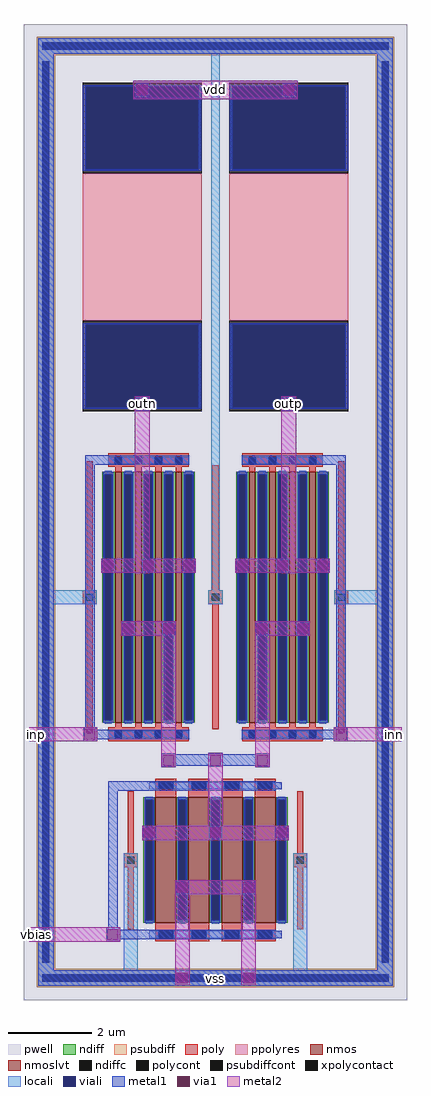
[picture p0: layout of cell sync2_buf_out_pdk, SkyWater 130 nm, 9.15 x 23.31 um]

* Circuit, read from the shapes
.subckt sync2_buf_out_pdk inp inn outn outp vbias vdd vss
XM1 n1 inp outn vss sky130_fd_pr__nfet_01v8_lvt w=6 l=0.15 m=4
XM2 vss vbias n1 vss sky130_fd_pr__nfet_01v8 w=3 l=0.5 m=4
XM3 n1 inn outp vss sky130_fd_pr__nfet_01v8_lvt w=6 l=0.15 m=4
XR4 vdd outn vss sky130_fd_pr__res_high_po w=2.85 l=3.53
XR5 vdd outp vss sky130_fd_pr__res_high_po w=2.85 l=3.53
.ends

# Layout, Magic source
magic
tech sky130A
magscale 1 2
<< pwell >>
rect -915 -668 915 3994
<< psubdiff >>
rect -855 -608 855 -518
rect -855 3844 855 3934
rect -855 -608 -765 3934
rect 765 -608 855 3934
<< psubdiffcont >>
rect -827 -580 827 -546
rect -827 3872 827 3906
rect -827 -490 -793 3816
rect 793 -490 827 3816
<< locali >>
rect -847 -600 847 -526
rect -847 3852 847 3926
rect -847 -600 -773 3926
rect 773 -600 847 3926
rect -316 338 -271 372
rect -203 338 -113 372
rect -45 338 45 372
rect 113 338 203 372
rect 271 338 316 372
rect -333 288 -299 304
rect -333 -304 -299 -288
rect -175 288 -141 304
rect -175 -304 -141 -288
rect -17 288 17 304
rect -17 -304 17 -288
rect 141 288 175 304
rect 141 -304 175 -288
rect 299 288 333 304
rect 299 -304 333 -288
rect -316 -372 -271 -338
rect -203 -372 -113 -338
rect -45 -372 45 -338
rect 113 -372 203 -338
rect 271 -372 316 -338
rect -512 1894 -481 1928
rect -447 1894 -385 1928
rect -351 1894 -289 1928
rect -255 1894 -193 1928
rect -159 1894 -128 1928
rect -529 1844 -495 1860
rect -529 652 -495 668
rect -433 1844 -399 1860
rect -433 652 -399 668
rect -337 1844 -303 1860
rect -337 652 -303 668
rect -241 1844 -207 1860
rect -241 652 -207 668
rect -145 1844 -111 1860
rect -145 652 -111 668
rect -512 584 -481 618
rect -447 584 -385 618
rect -351 584 -289 618
rect -255 584 -193 618
rect -159 584 -128 618
rect 128 1894 159 1928
rect 193 1894 255 1928
rect 289 1894 351 1928
rect 385 1894 447 1928
rect 481 1894 512 1928
rect 111 1844 145 1860
rect 111 652 145 668
rect 207 1844 241 1860
rect 207 652 241 668
rect 303 1844 337 1860
rect 303 652 337 668
rect 399 1844 433 1860
rect 399 652 433 668
rect 495 1844 529 1860
rect 495 652 529 668
rect 128 584 159 618
rect 193 584 255 618
rect 289 584 351 618
rect 385 584 447 618
rect 481 584 512 618
rect -773 1222 -567 1290
rect 567 1222 773 1290
rect -20 1222 20 3852
rect -34 1222 34 1290
rect -439 -526 -371 34
rect 371 -526 439 34
<< viali >>
rect -827 -580 827 -546
rect -827 3872 827 3906
rect -827 -490 -793 3816
rect 793 -490 827 3816
rect -271 338 -203 372
rect -113 338 -45 372
rect 45 338 113 372
rect 203 338 271 372
rect -333 -288 -299 288
rect -175 -288 -141 288
rect -17 -288 17 288
rect 141 -288 175 288
rect 299 -288 333 288
rect -271 -372 -203 -338
rect -113 -372 -45 -338
rect 45 -372 113 -338
rect 203 -372 271 -338
rect -481 1894 -447 1928
rect -385 1894 -351 1928
rect -289 1894 -255 1928
rect -193 1894 -159 1928
rect -529 668 -495 1844
rect -433 668 -399 1844
rect -337 668 -303 1844
rect -241 668 -207 1844
rect -145 668 -111 1844
rect -481 584 -447 618
rect -385 584 -351 618
rect -289 584 -255 618
rect -193 584 -159 618
rect -619 3299 -81 3696
rect -619 2162 -81 2559
rect 159 1894 193 1928
rect 255 1894 289 1928
rect 351 1894 385 1928
rect 447 1894 481 1928
rect 111 668 145 1844
rect 207 668 241 1844
rect 303 668 337 1844
rect 399 668 433 1844
rect 495 668 529 1844
rect 159 584 193 618
rect 255 584 289 618
rect 351 584 385 618
rect 447 584 481 618
rect 81 3299 619 3696
rect 81 2162 619 2559
<< metal1 >>
rect -847 -600 847 -526
rect -847 3852 847 3926
rect -847 -600 -773 3926
rect 773 -600 847 3926
rect -283 372 -191 378
rect -125 372 -33 378
rect 33 372 125 378
rect 191 372 283 378
rect -316 338 -271 372
rect -203 338 -113 372
rect -45 338 45 372
rect 113 338 203 372
rect 271 338 316 372
rect -283 332 -191 338
rect -125 332 -33 338
rect 33 332 125 338
rect 191 332 283 338
rect -339 288 -293 300
rect -339 -288 -333 288
rect -299 -288 -293 288
rect -339 -300 -293 -288
rect -181 288 -135 300
rect -181 -288 -175 288
rect -141 -288 -135 288
rect -181 -300 -135 -288
rect -23 288 23 300
rect -23 -288 -17 288
rect 17 -288 23 288
rect -23 -300 23 -288
rect 135 288 181 300
rect 135 -288 141 288
rect 175 -288 181 288
rect 135 -300 181 -288
rect 293 288 339 300
rect 293 -288 299 288
rect 333 -288 339 288
rect 293 -300 339 -288
rect -283 -338 -191 -332
rect -125 -338 -33 -332
rect 33 -338 125 -332
rect 191 -338 283 -332
rect -316 -372 -271 -338
rect -203 -372 -113 -338
rect -45 -372 45 -338
rect 113 -372 203 -338
rect 271 -372 316 -338
rect -283 -378 -191 -372
rect -125 -378 -33 -372
rect 33 -378 125 -372
rect 191 -378 283 -372
rect -493 1928 -435 1934
rect -397 1928 -339 1934
rect -301 1928 -243 1934
rect -205 1928 -147 1934
rect -512 1894 -481 1928
rect -447 1894 -385 1928
rect -351 1894 -289 1928
rect -255 1894 -193 1928
rect -159 1894 -128 1928
rect -493 1888 -435 1894
rect -397 1888 -339 1894
rect -301 1888 -243 1894
rect -205 1888 -147 1894
rect -535 1844 -489 1856
rect -535 668 -529 1844
rect -495 668 -489 1844
rect -535 656 -489 668
rect -439 1844 -393 1856
rect -439 668 -433 1844
rect -399 668 -393 1844
rect -439 656 -393 668
rect -343 1844 -297 1856
rect -343 668 -337 1844
rect -303 668 -297 1844
rect -343 656 -297 668
rect -247 1844 -201 1856
rect -247 668 -241 1844
rect -207 668 -201 1844
rect -247 656 -201 668
rect -151 1844 -105 1856
rect -151 668 -145 1844
rect -111 668 -105 1844
rect -151 656 -105 668
rect -493 618 -435 624
rect -397 618 -339 624
rect -301 618 -243 624
rect -205 618 -147 624
rect -512 584 -481 618
rect -447 584 -385 618
rect -351 584 -289 618
rect -255 584 -193 618
rect -159 584 -128 618
rect -493 578 -435 584
rect -397 578 -339 584
rect -301 578 -243 584
rect -205 578 -147 584
rect -631 3696 -69 3702
rect -631 3299 -619 3696
rect -81 3299 -69 3696
rect -631 3293 -69 3299
rect -631 2559 -69 2565
rect -631 2162 -619 2559
rect -81 2162 -69 2559
rect -631 2156 -69 2162
rect 147 1928 205 1934
rect 243 1928 301 1934
rect 339 1928 397 1934
rect 435 1928 493 1934
rect 128 1894 159 1928
rect 193 1894 255 1928
rect 289 1894 351 1928
rect 385 1894 447 1928
rect 481 1894 512 1928
rect 147 1888 205 1894
rect 243 1888 301 1894
rect 339 1888 397 1894
rect 435 1888 493 1894
rect 105 1844 151 1856
rect 105 668 111 1844
rect 145 668 151 1844
rect 105 656 151 668
rect 201 1844 247 1856
rect 201 668 207 1844
rect 241 668 247 1844
rect 201 656 247 668
rect 297 1844 343 1856
rect 297 668 303 1844
rect 337 668 343 1844
rect 297 656 343 668
rect 393 1844 439 1856
rect 393 668 399 1844
rect 433 668 439 1844
rect 393 656 439 668
rect 489 1844 535 1856
rect 489 668 495 1844
rect 529 668 535 1844
rect 489 656 535 668
rect 147 618 205 624
rect 243 618 301 624
rect 339 618 397 624
rect 435 618 493 624
rect 128 584 159 618
rect 193 584 255 618
rect 289 584 351 618
rect 385 584 447 618
rect 481 584 512 618
rect 147 578 205 584
rect 243 578 301 584
rect 339 578 397 584
rect 435 578 493 584
rect 69 3696 631 3702
rect 69 3299 81 3696
rect 619 3299 631 3696
rect 69 3293 631 3299
rect 69 2559 631 2565
rect 69 2162 81 2559
rect 619 2162 631 2559
rect 69 2156 631 2162
rect -190 -162 -126 -98
rect 126 -162 190 -98
rect -348 98 -284 162
rect -32 98 32 162
rect 284 98 348 162
rect -288 -378 288 -332
rect -288 332 288 378
rect -448 1074 -384 1138
rect -256 1074 -192 1138
rect -544 1374 -480 1438
rect -352 1374 -288 1438
rect -160 1374 -96 1438
rect -515 578 -125 624
rect -515 1888 -125 1934
rect 192 1074 256 1138
rect 384 1074 448 1138
rect 96 1374 160 1438
rect 288 1374 352 1438
rect 480 1374 544 1438
rect 125 578 515 624
rect 125 1888 515 1934
rect -623 578 -461 624
rect -623 578 -577 1934
rect -623 1888 -461 1934
rect 461 578 623 624
rect 577 578 623 1934
rect 461 1888 623 1934
rect -513 -378 -234 -332
rect -513 -378 -467 378
rect -513 332 -234 378
rect -522 -387 -458 -323
rect -190 -595 -126 -531
rect 126 -595 190 -531
rect -32 446 32 510
rect -252 450 252 506
rect -256 446 -192 510
rect 192 446 256 510
rect -382 2147 -318 2211
rect 318 2147 382 2211
rect -382 3647 -318 3711
rect 318 3647 382 3711
rect -632 569 -568 633
rect 568 569 632 633
<< nmos >>
rect -287 -300 -187 300
rect -129 -300 -29 300
rect 29 -300 129 300
rect 187 -300 287 300
<< ndiff >>
rect -345 288 -287 300
rect -345 -288 -333 288
rect -299 -288 -287 288
rect -345 -300 -287 -288
rect -187 288 -129 300
rect -187 -288 -175 288
rect -141 -288 -129 288
rect -187 -300 -129 -288
rect -29 288 29 300
rect -29 -288 -17 288
rect 17 -288 29 288
rect -29 -300 29 -288
rect 129 288 187 300
rect 129 -288 141 288
rect 175 -288 187 288
rect 129 -300 187 -288
rect 287 288 345 300
rect 287 -288 299 288
rect 333 -288 345 288
rect 287 -300 345 -288
rect -541 1844 -479 1856
rect -541 668 -529 1844
rect -495 668 -479 1844
rect -541 656 -479 668
rect -449 1844 -383 1856
rect -449 668 -433 1844
rect -399 668 -383 1844
rect -449 656 -383 668
rect -353 1844 -287 1856
rect -353 668 -337 1844
rect -303 668 -287 1844
rect -353 656 -287 668
rect -257 1844 -191 1856
rect -257 668 -241 1844
rect -207 668 -191 1844
rect -257 656 -191 668
rect -161 1844 -99 1856
rect -161 668 -145 1844
rect -111 668 -99 1844
rect -161 656 -99 668
rect 99 1844 161 1856
rect 99 668 111 1844
rect 145 668 161 1844
rect 99 656 161 668
rect 191 1844 257 1856
rect 191 668 207 1844
rect 241 668 257 1844
rect 191 656 257 668
rect 287 1844 353 1856
rect 287 668 303 1844
rect 337 668 353 1844
rect 287 656 353 668
rect 383 1844 449 1856
rect 383 668 399 1844
rect 433 668 449 1844
rect 383 656 449 668
rect 479 1844 541 1856
rect 479 668 495 1844
rect 529 668 541 1844
rect 479 656 541 668
<< ndiffc >>
rect -333 -288 -299 288
rect -175 -288 -141 288
rect -17 -288 17 288
rect 141 -288 175 288
rect 299 -288 333 288
rect -529 668 -495 1844
rect -433 668 -399 1844
rect -337 668 -303 1844
rect -241 668 -207 1844
rect -145 668 -111 1844
rect 111 668 145 1844
rect 207 668 241 1844
rect 303 668 337 1844
rect 399 668 433 1844
rect 495 668 529 1844
<< poly >>
rect -287 372 -187 388
rect -287 338 -271 372
rect -203 338 -187 372
rect -287 300 -187 338
rect -129 372 -29 388
rect -129 338 -113 372
rect -45 338 -29 372
rect -129 300 -29 338
rect 29 372 129 388
rect 29 338 45 372
rect 113 338 129 372
rect 29 300 129 338
rect 187 372 287 388
rect 187 338 203 372
rect 271 338 287 372
rect 187 300 287 338
rect -287 -338 -187 -300
rect -287 -372 -271 -338
rect -203 -372 -187 -338
rect -287 -388 -187 -372
rect -129 -338 -29 -300
rect -129 -372 -113 -338
rect -45 -372 -29 -338
rect -129 -388 -29 -372
rect 29 -338 129 -300
rect 29 -372 45 -338
rect 113 -372 129 -338
rect 29 -388 129 -372
rect 187 -338 287 -300
rect 187 -372 203 -338
rect 271 -372 287 -338
rect 187 -388 287 -372
rect -420 -330 -390 330
rect 390 -330 420 330
rect -512 1928 -128 1944
rect -512 1894 -481 1928
rect -447 1894 -385 1928
rect -351 1894 -289 1928
rect -255 1894 -193 1928
rect -159 1894 -128 1928
rect -512 1878 -128 1894
rect -479 1856 -449 1878
rect -383 1856 -353 1878
rect -287 1856 -257 1878
rect -191 1856 -161 1878
rect -479 634 -449 656
rect -383 634 -353 656
rect -287 634 -257 656
rect -191 634 -161 656
rect -512 618 -128 634
rect -512 584 -481 618
rect -447 584 -385 618
rect -351 584 -289 618
rect -255 584 -193 618
rect -159 584 -128 618
rect -512 568 -128 584
rect 128 1928 512 1944
rect 128 1894 159 1928
rect 193 1894 255 1928
rect 289 1894 351 1928
rect 385 1894 447 1928
rect 481 1894 512 1928
rect 128 1878 512 1894
rect 161 1856 191 1878
rect 257 1856 287 1878
rect 353 1856 383 1878
rect 449 1856 479 1878
rect 161 634 191 656
rect 257 634 287 656
rect 353 634 383 656
rect 449 634 479 656
rect 128 618 512 634
rect 128 584 159 618
rect 193 584 255 618
rect 289 584 351 618
rect 385 584 447 618
rect 481 584 512 618
rect 128 568 512 584
rect -15 626 15 1886
rect -616 606 -586 1906
rect -635 1222 -567 1290
rect 586 606 616 1906
rect 567 1222 635 1290
rect -34 1222 34 1290
rect -439 -34 -371 34
rect 371 -34 439 34
<< polycont >>
rect -271 338 -203 372
rect -113 338 -45 372
rect 45 338 113 372
rect 203 338 271 372
rect -271 -372 -203 -338
rect -113 -372 -45 -338
rect 45 -372 113 -338
rect 203 -372 271 -338
rect -481 1894 -447 1928
rect -385 1894 -351 1928
rect -289 1894 -255 1928
rect -193 1894 -159 1928
rect -481 584 -447 618
rect -385 584 -351 618
rect -289 584 -255 618
rect -193 584 -159 618
rect 159 1894 193 1928
rect 255 1894 289 1928
rect 351 1894 385 1928
rect 447 1894 481 1928
rect 159 584 193 618
rect 255 584 289 618
rect 351 584 385 618
rect 447 584 481 618
rect -618 1239 -584 1273
rect 584 1239 618 1273
rect -17 1239 17 1273
rect -422 -17 -388 17
rect 388 -17 422 17
<< nmoslvt >>
rect -479 656 -449 1856
rect -383 656 -353 1856
rect -287 656 -257 1856
rect -191 656 -161 1856
rect 161 656 191 1856
rect 257 656 287 1856
rect 353 656 383 1856
rect 449 656 479 1856
<< xpolycontact >>
rect -635 3282 -65 3714
rect -635 2144 -65 2576
rect 65 3282 635 3714
rect 65 2144 635 2576
<< ppolyres >>
rect -635 2576 -65 3282
rect 65 2576 635 3282
<< via1 >>
rect -184 -156 -132 -104
rect 132 -156 184 -104
rect -342 104 -290 156
rect -26 104 26 156
rect 290 104 342 156
rect -442 1080 -390 1132
rect -250 1080 -198 1132
rect -538 1380 -486 1432
rect -346 1380 -294 1432
rect -154 1380 -102 1432
rect 198 1080 250 1132
rect 390 1080 442 1132
rect 102 1380 154 1432
rect 294 1380 346 1432
rect 486 1380 538 1432
rect -516 -381 -464 -329
rect -184 -589 -132 -537
rect 132 -589 184 -537
rect -26 452 26 504
rect -250 452 -198 504
rect 198 452 250 504
rect -376 2153 -324 2205
rect 324 2153 376 2205
rect -376 3653 -324 3705
rect 324 3653 376 3705
rect -626 575 -574 627
rect 574 575 626 627
<< metal2 >>
rect -190 -162 -126 -98
rect 126 -162 190 -98
rect -192 -164 192 -96
rect -348 98 -284 162
rect -32 98 32 162
rect 284 98 348 162
rect -350 96 350 164
rect -448 1074 -384 1138
rect -256 1074 -192 1138
rect -450 1072 -190 1140
rect -544 1374 -480 1438
rect -352 1374 -288 1438
rect -160 1374 -96 1438
rect -546 1372 -94 1440
rect 192 1074 256 1138
rect 384 1074 448 1138
rect 190 1072 450 1140
rect 96 1374 160 1438
rect 288 1374 352 1438
rect 480 1374 544 1438
rect 94 1372 546 1440
rect -522 -387 -458 -323
rect -192 -597 -124 -96
rect -190 -595 -126 -531
rect 124 -597 192 -96
rect 126 -595 190 -531
rect -34 96 34 512
rect -32 446 32 510
rect -256 446 -192 510
rect -258 444 -190 1140
rect 192 446 256 510
rect 190 444 258 1140
rect -386 1370 -314 2215
rect -382 2147 -318 2211
rect 314 1370 386 2215
rect 318 2147 382 2211
rect -382 3647 -318 3711
rect 318 3647 382 3711
rect -394 3635 394 3723
rect -632 569 -568 633
rect 568 569 632 633
rect -889 -389 -456 -321
rect -889 567 -566 635
rect 566 567 889 635
<< labels >>
rlabel metal2 -855 601 -855 601 0 inp
port 1 nsew
rlabel metal2 855 601 855 601 0 inn
port 2 nsew
rlabel metal2 -350 2179 -350 2179 0 outn
port 3 nsew
rlabel metal2 350 2179 350 2179 0 outp
port 4 nsew
rlabel metal2 -855 -355 -855 -355 0 vbias
port 5 nsew
rlabel metal2 0 3679 0 3679 0 vdd
port 6 nsew
rlabel metal1 0 -563 0 -563 0 vss
port 7 nsew
<< end >>
